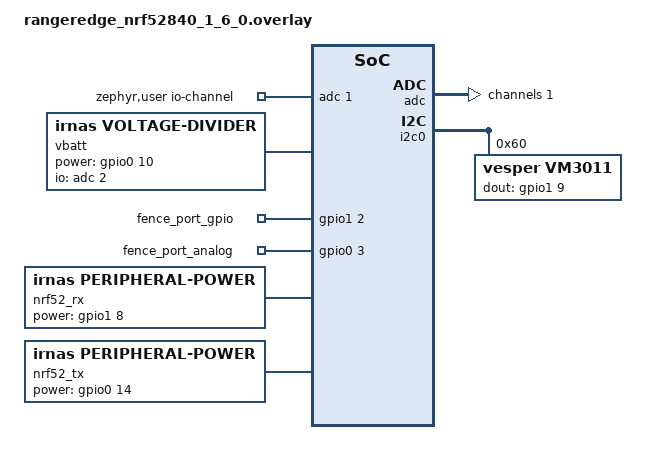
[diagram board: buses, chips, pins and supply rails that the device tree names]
/ {
    zephyr,user {
		io-channels = <&adc 1>;
	};

    vbatt {
		compatible = "irnas,voltage-divider";
		io-channels = <&adc 2>;
		lower-resistor-ohms = <390>;
		upper-resistor-ohms = <220>;
		power-gpios = <&gpio0 10 GPIO_ACTIVE_HIGH>;
        power-startup-delay-ms=<200>;
        status = "okay";
	};

    pins: pins {
        compatible = "gpio-keys";
        fence_port_gpio: fence_port_gpio {
            gpios = <&gpio1 2 GPIO_ACTIVE_HIGH>;
        };
        fence_port_analog: fence_port_analog {
            gpios = <&gpio0 3 GPIO_ACTIVE_HIGH>;
        };
    };

    nrf52_rx  {
        compatible = "irnas,peripheral-power";
        power-gpios = <&gpio1 8 (GPIO_PULL_DOWN |GPIO_ACTIVE_HIGH)>;
        status = "okay";
        initial-state = <0>;
        configure-input;
    };

    nrf52_tx  {
        compatible = "irnas,peripheral-power";
        power-gpios = <&gpio0 14 (GPIO_PULL_DOWN |GPIO_ACTIVE_HIGH)>;
        status = "okay";
        initial-state = <0>;
        configure-input;
    };
};

&adc {
	status = "okay";

    #address-cells = <1>;
	#size-cells = <0>;

    channel@1 {
		reg = <1>;
		zephyr,gain = "ADC_GAIN_1_6";
		zephyr,reference = "ADC_REF_INTERNAL";
		zephyr,acquisition-time = <ADC_ACQ_TIME_DEFAULT>; /* 10 us by defoult */
		zephyr,input-positive = <NRF_SAADC_AIN1>; /* P0.03 */
		zephyr,resolution = <12>;
        zephyr,vref-mv = <2800>;
	};
};

&i2c0 {
    // microphone:
    vm3011: vm3011@60 {
        compatible = "vesper,vm3011";
        reg = <0x60>;

        data-pin = <46>;
        clk-pin = <45>;
        dout-gpios = <&gpio1 9 (GPIO_ACTIVE_HIGH)>;
    };
};
